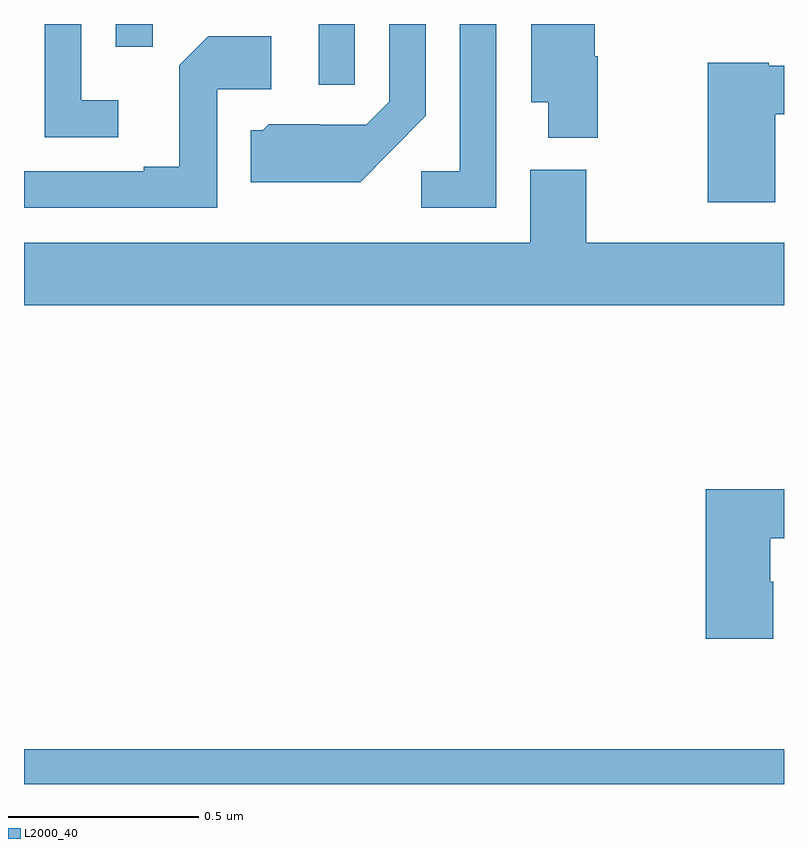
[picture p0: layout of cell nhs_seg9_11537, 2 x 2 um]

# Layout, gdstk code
import gdstk
lib = gdstk.Library(unit=1e-6, precision=1e-09)
def R(c, l, rs):  # rectangles x0, y0, x1, y1
    for r in rs: c.add(gdstk.rectangle(r[:2], r[2:], *l))
def P(c, l, *ps):  # polygons
    for p in ps: c.add(gdstk.Polygon(p, *l))
L2000_40 = (2000, 40)

nhs_seg9_11537 = lib.new_cell('nhs_seg9_11537')
R(nhs_seg9_11537, L2000_40, [(257,1188.5,259,1188.592), (257.775,1190.34,257.871,1190.5), (257.241,1190.44,257.339,1190.5)])
P(nhs_seg9_11537, L2000_40, [(258.243,1190.5),(258.147,1190.5),(258.147,1190.112),(258.045,1190.112),(258.045,1190.016),(258.243,1190.016)],
  [(257.965,1190.165),(258.057,1190.258),(258.057,1190.5),(257.961,1190.5),(257.961,1190.295),(257.901,1190.235),(257.778,1190.235),(257.778,1190.236),(257.644,1190.236),(257.628,1190.22),(257.597,1190.22),(257.597,1190.084),(257.885,1190.084)],
  [(257.248,1190.299),(257.151,1190.299),(257.151,1190.5),(257.055,1190.5),(257.055,1190.202),(257.248,1190.202)],
  [(258.51,1190.415),(258.502,1190.415),(258.502,1190.5),(258.335,1190.5),(258.335,1190.294),(258.38,1190.294),(258.38,1190.201),(258.51,1190.201)],
  [(257.508,1190.328),(257.65,1190.328),(257.65,1190.468),(257.485,1190.468),(257.409,1190.392),(257.409,1190.125),(257.315,1190.125),(257.315,1190.112),(257.001,1190.112),(257,1190.113),(257,1190.016),(257.508,1190.016)],
  [(258.977,1190.262),(259,1190.262),(259,1190.39),(258.96,1190.39),(258.96,1190.398),(258.799,1190.398),(258.799,1190.031),(258.977,1190.031)],
  [(259,1189.924),(258.48,1189.924),(258.48,1190.116),(258.332,1190.116),(258.332,1189.924),(257,1189.924),(257,1189.76),(259,1189.76)],
  [(258.972,1189.032),(258.964,1189.032),(258.964,1189.147),(259,1189.147),(259,1189.276),(258.794,1189.276),(258.794,1188.882),(258.972,1188.882)])

lib.write_gds('nhs_seg9_11537.gds')
